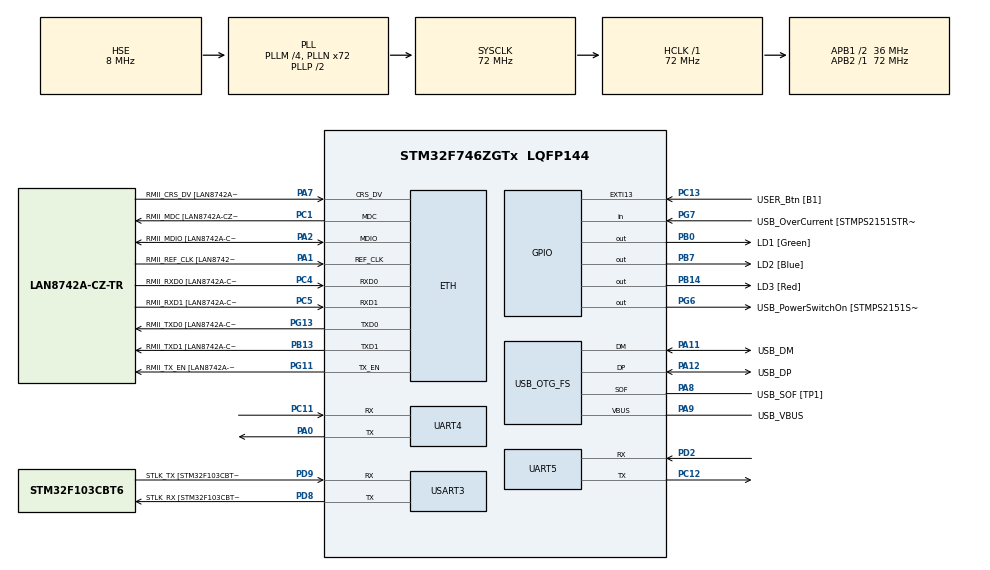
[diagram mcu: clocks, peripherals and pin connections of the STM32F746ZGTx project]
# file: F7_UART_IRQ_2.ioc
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ETH.MediaInterface=ETH_MEDIA_INTERFACE_RMII
ETH.PHY_Name=LAN8742A_PHY_ADDRESS
ETH.PHY_Value=0
ETH.PhyAddress=0
Mcu.Family=STM32F7
Mcu.Name=STM32F746ZGTx
Mcu.Package=LQFP144
NVIC.PriorityGroup=NVIC_PRIORITYGROUP_4
NVIC.UART4_IRQn=true\:0\:0\:false\:false\:true\:true\:true
NVIC.UART5_IRQn=true\:0\:0\:false\:false\:true\:true\:true
NVIC.USART3_IRQn=true\:0\:0\:false\:false\:true\:true\:true
PA0/WKUP.Mode=Asynchronous
PA0/WKUP.Signal=UART4_TX
PA1.GPIO_Label=RMII_REF_CLK [LAN8742A-CZ-TR_REFCLK0]
PA1.Mode=RMII
PA1.Signal=ETH_REF_CLK
PA10.GPIO_Label=USB_ID
PA10.Signal=USB_OTG_FS_ID
PA11.GPIO_Label=USB_DM
PA11.Mode=Device_Only
PA11.Signal=USB_OTG_FS_DM
PA12.GPIO_Label=USB_DP
PA12.Mode=Device_Only
PA12.Signal=USB_OTG_FS_DP
PA13.GPIO_Label=TMS
PA13.Mode=Serial_Wire
PA13.Signal=SYS_JTMS-SWDIO
PA14.GPIO_Label=TCK
PA14.Mode=Serial_Wire
PA14.Signal=SYS_JTCK-SWCLK
PA2.GPIO_Label=RMII_MDIO [LAN8742A-CZ-TR_MDIO]
PA2.Mode=RMII
PA2.Signal=ETH_MDIO
PA7.GPIO_Label=RMII_CRS_DV [LAN8742A-CZ-TR_CRS_DV]
PA7.Mode=RMII
PA7.Signal=ETH_CRS_DV
PA8.GPIO_Label=USB_SOF [TP1]
PA8.Mode=Activate_SOF_FS
PA8.Signal=USB_OTG_FS_SOF
PA9.GPIO_Label=USB_VBUS
PA9.Mode=Activate_VBUS
PA9.Signal=USB_OTG_FS_VBUS
PB0.GPIO_Label=LD1 [Green]
PB0.Signal=GPIO_Output
PB13.GPIO_Label=RMII_TXD1 [LAN8742A-CZ-TR_TXD1]
PB13.Mode=RMII
PB13.Signal=ETH_TXD1
PB14.GPIO_Label=LD3 [Red]
PB14.Signal=GPIO_Output
PB3.GPIO_Label=SW0
PB3.Signal=SYS_JTDO-SWO
PB7.GPIO_Label=LD2 [Blue]
PB7.Signal=GPIO_Output
PC1.GPIO_Label=RMII_MDC [LAN8742A-CZ-TR_MDC]
PC1.Mode=RMII
PC1.Signal=ETH_MDC
PC11.Mode=Asynchronous
PC11.Signal=UART4_RX
PC12.Mode=Asynchronous
PC12.Signal=UART5_TX
PC13.GPIO_Label=USER_Btn [B1]
PC13.Signal=GPXTI13
PC14/OSC32_IN.Mode=LSE-External-Oscillator
PC14/OSC32_IN.Signal=RCC_OSC32_IN
PC15/OSC32_OUT.Mode=LSE-External-Oscillator
PC15/OSC32_OUT.Signal=RCC_OSC32_OUT
PC4.GPIO_Label=RMII_RXD0 [LAN8742A-CZ-TR_RXD0]
PC4.Mode=RMII
PC4.Signal=ETH_RXD0
PC5.GPIO_Label=RMII_RXD1 [LAN8742A-CZ-TR_RXD1]
PC5.Mode=RMII
PC5.Signal=ETH_RXD1
PD2.Mode=Asynchronous
PD2.Signal=UART5_RX
PD8.GPIO_Label=STLK_RX [STM32F103CBT6_PA3]
PD8.Mode=Asynchronous
PD8.Signal=USART3_TX
PD9.GPIO_Label=STLK_TX [STM32F103CBT6_PA2]
PD9.Mode=Asynchronous
PD9.Signal=USART3_RX
PG11.GPIO_Label=RMII_TX_EN [LAN8742A-CZ-TR_TXEN]
PG11.Mode=RMII
PG11.Signal=ETH_TX_EN
PG13.GPIO_Label=RMII_TXD0 [LAN8742A-CZ-TR_TXD0]
PG13.Mode=RMII
PG13.Signal=ETH_TXD0
PG6.GPIO_Label=USB_PowerSwitchOn [STMPS2151STR_EN]
PG6.Signal=GPIO_Output
PG7.GPIO_Label=USB_OverCurrent [STMPS2151STR_FAULT]
PG7.Signal=GPIO_Input
PH0/OSC_IN.GPIO_Label=MCO [STM32F103CBT6_PA8]
PH0/OSC_IN.Mode=HSE-External-Clock-Source
PH0/OSC_IN.Signal=RCC_OSC_IN
PH1/OSC_OUT.Mode=HSE-External-Clock-Source
PH1/OSC_OUT.Signal=RCC_OSC_OUT
ProjectManager.HeapSize=0x200
ProjectManager.StackSize=0x400
ProjectManager.TargetToolchain=STM32CubeIDE
RCC.48MHZClocksFreq_Value=24000000
RCC.AHBFreq_Value=72000000
RCC.APB1CLKDivider=RCC_HCLK_DIV2
RCC.APB1Freq_Value=36000000
RCC.APB1TimFreq_Value=72000000
RCC.APB2Freq_Value=72000000
RCC.APB2TimFreq_Value=72000000
RCC.CortexFreq_Value=72000000
RCC.HCLKFreq_Value=72000000
RCC.HSE_VALUE=8000000
RCC.HSI_VALUE=16000000
RCC.PLLM=4
RCC.PLLMUL=RCC_PLL_MUL9
RCC.PLLN=72
RCC.PLLQ=3
RCC.PRESCALERUSB=RCC_USBCLKSOURCE_PLL_DIV1_5
RCC.SYSCLKFreq_VALUE=72000000
RCC.SYSCLKSource=RCC_SYSCLKSOURCE_PLLCLK
RCC.SYSCLKSourceVirtual=RCC_SYSCLKSOURCE_PLLCLK
RCC.USBFreq_Value=48000000
RCC.VCOOutputFreq_Value=144000000
USART3.VirtualMode-Asynchronous=VM_ASYNC
USB_OTG_FS.VirtualMode=Device_Only
board=NUCLEO-F746ZG

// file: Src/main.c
/* USER CODE BEGIN Header */
/**
  ******************************************************************************
  * @file           : main.c
  * @brief          : Main program body
  ******************************************************************************
  * @attention
  *
  * <h2><center>&copy; Copyright (c) 2020 STMicroelectronics.
  * All rights reserved.</center></h2>
  *
  * This software component is licensed by ST under BSD 3-Clause license,
  * the "License"; You may not use this file except in compliance with the
  * License. You may obtain a copy of the License at:
  *                        opensource.org/licenses/BSD-3-Clause
  *
  ******************************************************************************
  */
/* USER CODE END Header */

#include "main.h"

ETH_HandleTypeDef heth;

UART_HandleTypeDef huart4;
UART_HandleTypeDef huart5;
UART_HandleTypeDef huart3;

PCD_HandleTypeDef hpcd_USB_OTG_FS;

/* USER CODE BEGIN PV */
uint8_t uart3_flag_calback=0;
uint8_t uart4_flag_calback=0;
uint8_t uart5_flag_calback=0;
uint8_t uart3_flag_h=0;

uint8_t uart3_r_buff[100];
uint8_t uart4_r_buff[100];
uint8_t uart5_r_buff[100];

/* USER CODE END PV */

void SystemClock_Config(void);
static void MX_GPIO_Init(void);
static void MX_ETH_Init(void);
static void MX_UART4_Init(void);
static void MX_USART3_UART_Init(void);
static void MX_USB_OTG_FS_PCD_Init(void);
static void MX_UART5_Init(void);

/* USER CODE BEGIN 0 */
//===========================================================================
/*
 * function for printf
 */
int __io_putchar(int ch)
{
	HAL_UART_Transmit(&huart3, (uint8_t *)&ch, 1, 0xFFFF);
	return ch;
}
//===========================================================================

/* USER CODE END 0 */

int main(void)
{

  /* MCU Configuration--------------------------------------------------------*/

  /* Reset of all peripherals, Initializes the Flash interface and the Systick. */
  HAL_Init();

  /* Configure the system clock */
  SystemClock_Config();

  /* Initialize all configured peripherals */
  MX_GPIO_Init();
  MX_ETH_Init();
  MX_UART4_Init();
  MX_USART3_UART_Init();
  MX_USB_OTG_FS_PCD_Init();
  MX_UART5_Init();
  /* USER CODE BEGIN 2 */
  HAL_UART_Receive_IT(&huart3, uart3_r_buff, 10);
  HAL_UART_Receive_IT(&huart5, uart5_r_buff, 10);
  HAL_UART_Receive_IT(&huart4, uart4_r_buff, 10);
  /* USER CODE END 2 */

  /* Infinite loop */
  /* USER CODE BEGIN WHILE */
	 printf("\n\rInput any text \n\r");
  while (1)
  {
	  if(uart3_flag_calback)
	  {
		  printf("callback flag uart3 up [%s]\n\r",uart3_r_buff);
		  uart3_flag_calback = 0;
//		  HAL_UART_Transmit(&huart4, uart3_r_buff, 10,0xffff);
		  HAL_UART_Transmit(&huart5, uart3_r_buff, 10,0xffff);
		  memset(uart3_r_buff,0,sizeof(uart3_r_buff));
	  }
	  if(uart4_flag_calback)
	  {
		  printf("callback flag uart4 up [%s]\n\r",uart4_r_buff);
		  uart4_flag_calback = 0;
	  }
	  if(uart5_flag_calback)
	  {
		  printf("callback flag uart5 up [%s]\n\r",uart5_r_buff);
		  uart5_flag_calback = 0;
	  }
	  if(uart3_flag_h)
	  {
//		  printf("USART3_IRQHandler flag UP\n\r");
		  printf("huart3.RxXferCount [%d]\n\r",
				  huart3.RxXferCount);
		  printf("huart3.RxXferSize [%d]\n\r",
				  huart3.RxXferSize);
		  printf("[%s]\n\r",uart3_r_buff);
		  uart3_flag_h = 0;
	  }
    /* USER CODE END WHILE */

    /* USER CODE BEGIN 3 */

  }
}

/*
(+) TxHalfCpltCallback        : Tx Half Complete Callback.
(+) TxCpltCallback            : Tx Complete Callback.
(+) RxHalfCpltCallback        : Rx Half Complete Callback.
(+) RxCpltCallback            : Rx Complete Callback.
(+) ErrorCallback             : Error Callback.
(+) AbortCpltCallback         : Abort Complete Callback.
(+) AbortTransmitCpltCallback : Abort Transmit Complete Callback.
(+) AbortReceiveCpltCallback  : Abort Receive Complete Callback.
(+) WakeupCallback            : Wakeup Callback.
(+) RxFifoFullCallback        : Rx Fifo Full Callback.
(+) TxFifoEmptyCallback       : Tx Fifo Empty Callback.
(+) MspInitCallback           : UART MspInit.
(+) MspDeInitCallback         : UART MspDeInit.
*/

void HAL_UART_RxCpltCallback(UART_HandleTypeDef *huart)
{
	if(huart->Instance==UART4)
	{
		uart4_flag_calback = 1;
		HAL_UART_Receive_IT(&huart4, uart4_r_buff, 10);
	}
	if(huart->Instance==UART5)
	{
		uart5_flag_calback = 1;
		HAL_UART_Receive_IT(&huart5, uart5_r_buff, 10);
	}
	if(huart->Instance==USART3)
	{
		uart3_flag_calback = 1;
		HAL_UART_Receive_IT(&huart3, uart3_r_buff, 10);
	}
}

/**
  * @brief This function handles USART3 global interrupt.
  */
void USART3_IRQHandler(void)
{
  /* USER CODE BEGIN USART3_IRQn 0 */

  /* USER CODE END USART3_IRQn 0 */
  HAL_UART_IRQHandler(&huart3);
  /* USER CODE BEGIN USART3_IRQn 1 */
	uart3_flag_h = 1;
  /* USER CODE END USART3_IRQn 1 */
}

  /* USER CODE END 3 */

void SystemClock_Config(void)
{
  RCC_OscInitTypeDef RCC_OscInitStruct = {0};
  RCC_ClkInitTypeDef RCC_ClkInitStruct = {0};
  RCC_PeriphCLKInitTypeDef PeriphClkInitStruct = {0};

  /** Configure LSE Drive Capability
  */
  HAL_PWR_EnableBkUpAccess();
  /** Configure the main internal regulator output voltage
  */
  __HAL_RCC_PWR_CLK_ENABLE();
  __HAL_PWR_VOLTAGESCALING_CONFIG(PWR_REGULATOR_VOLTAGE_SCALE3);
  /** Initializes the CPU, AHB and APB busses clocks
  */
  RCC_OscInitStruct.OscillatorType = RCC_OSCILLATORTYPE_HSE;
  RCC_OscInitStruct.HSEState = RCC_HSE_BYPASS;
  RCC_OscInitStruct.PLL.PLLState = RCC_PLL_ON;
  RCC_OscInitStruct.PLL.PLLSource = RCC_PLLSOURCE_HSE;
  RCC_OscInitStruct.PLL.PLLM = 4;
  RCC_OscInitStruct.PLL.PLLN = 72;
  RCC_OscInitStruct.PLL.PLLP = RCC_PLLP_DIV2;
  RCC_OscInitStruct.PLL.PLLQ = 3;
  if (HAL_RCC_OscConfig(&RCC_OscInitStruct) != HAL_OK)
  {
    Error_Handler();
  }
  /** Initializes the CPU, AHB and APB busses clocks
  */
  RCC_ClkInitStruct.ClockType = RCC_CLOCKTYPE_HCLK|RCC_CLOCKTYPE_SYSCLK
                              |RCC_CLOCKTYPE_PCLK1|RCC_CLOCKTYPE_PCLK2;
  RCC_ClkInitStruct.SYSCLKSource = RCC_SYSCLKSOURCE_PLLCLK;
  RCC_ClkInitStruct.AHBCLKDivider = RCC_SYSCLK_DIV1;
  RCC_ClkInitStruct.APB1CLKDivider = RCC_HCLK_DIV2;
  RCC_ClkInitStruct.APB2CLKDivider = RCC_HCLK_DIV1;

  if (HAL_RCC_ClockConfig(&RCC_ClkInitStruct, FLASH_LATENCY_2) != HAL_OK)
  {
    Error_Handler();
  }
  PeriphClkInitStruct.PeriphClockSelection = RCC_PERIPHCLK_USART3|RCC_PERIPHCLK_UART4
                              |RCC_PERIPHCLK_UART5|RCC_PERIPHCLK_CLK48;
  PeriphClkInitStruct.Usart3ClockSelection = RCC_USART3CLKSOURCE_PCLK1;
  PeriphClkInitStruct.Uart4ClockSelection = RCC_UART4CLKSOURCE_PCLK1;
  PeriphClkInitStruct.Uart5ClockSelection = RCC_UART5CLKSOURCE_PCLK1;
  PeriphClkInitStruct.Clk48ClockSelection = RCC_CLK48SOURCE_PLL;
  if (HAL_RCCEx_PeriphCLKConfig(&PeriphClkInitStruct) != HAL_OK)
  {
    Error_Handler();
  }
}

static void MX_ETH_Init(void)
{

   uint8_t MACAddr[6] ;

  heth.Instance = ETH;
  heth.Init.AutoNegotiation = ETH_AUTONEGOTIATION_ENABLE;
  heth.Init.PhyAddress = LAN8742A_PHY_ADDRESS;
  MACAddr[0] = 0x00;
  MACAddr[1] = 0x80;
  MACAddr[2] = 0xE1;
  MACAddr[3] = 0x00;
  MACAddr[4] = 0x00;
  MACAddr[5] = 0x00;
  heth.Init.MACAddr = &MACAddr[0];
  heth.Init.RxMode = ETH_RXPOLLING_MODE;
  heth.Init.ChecksumMode = ETH_CHECKSUM_BY_HARDWARE;
  heth.Init.MediaInterface = ETH_MEDIA_INTERFACE_RMII;

  if (HAL_ETH_Init(&heth) != HAL_OK)
  {
    Error_Handler();
  }

}

static void MX_UART4_Init(void)
{

  huart4.Instance = UART4;
  huart4.Init.BaudRate = 115200;
  huart4.Init.WordLength = UART_WORDLENGTH_8B;
  huart4.Init.StopBits = UART_STOPBITS_1;
  huart4.Init.Parity = UART_PARITY_NONE;
  huart4.Init.Mode = UART_MODE_TX_RX;
  huart4.Init.HwFlowCtl = UART_HWCONTROL_NONE;
  huart4.Init.OverSampling = UART_OVERSAMPLING_16;
  huart4.Init.OneBitSampling = UART_ONE_BIT_SAMPLE_DISABLE;
  huart4.AdvancedInit.AdvFeatureInit = UART_ADVFEATURE_NO_INIT;
  if (HAL_UART_Init(&huart4) != HAL_OK)
  {
    Error_Handler();
  }

}

static void MX_UART5_Init(void)
{

  huart5.Instance = UART5;
  huart5.Init.BaudRate = 115200;
  huart5.Init.WordLength = UART_WORDLENGTH_8B;
  huart5.Init.StopBits = UART_STOPBITS_1;
  huart5.Init.Parity = UART_PARITY_NONE;
  huart5.Init.Mode = UART_MODE_TX_RX;
  huart5.Init.HwFlowCtl = UART_HWCONTROL_NONE;
  huart5.Init.OverSampling = UART_OVERSAMPLING_16;
  huart5.Init.OneBitSampling = UART_ONE_BIT_SAMPLE_DISABLE;
  huart5.AdvancedInit.AdvFeatureInit = UART_ADVFEATURE_NO_INIT;
  if (HAL_UART_Init(&huart5) != HAL_OK)
  {
    Error_Handler();
  }

}

static void MX_USART3_UART_Init(void)
{

  huart3.Instance = USART3;
  huart3.Init.BaudRate = 115200;
  huart3.Init.WordLength = UART_WORDLENGTH_8B;
  huart3.Init.StopBits = UART_STOPBITS_1;
  huart3.Init.Parity = UART_PARITY_NONE;
  huart3.Init.Mode = UART_MODE_TX_RX;
  huart3.Init.HwFlowCtl = UART_HWCONTROL_NONE;
  huart3.Init.OverSampling = UART_OVERSAMPLING_16;
  huart3.Init.OneBitSampling = UART_ONE_BIT_SAMPLE_DISABLE;
  huart3.AdvancedInit.AdvFeatureInit = UART_ADVFEATURE_NO_INIT;
  if (HAL_UART_Init(&huart3) != HAL_OK)
  {
    Error_Handler();
  }

}

static void MX_USB_OTG_FS_PCD_Init(void)
{

  hpcd_USB_OTG_FS.Instance = USB_OTG_FS;
  hpcd_USB_OTG_FS.Init.dev_endpoints = 6;
  hpcd_USB_OTG_FS.Init.speed = PCD_SPEED_FULL;
  hpcd_USB_OTG_FS.Init.dma_enable = DISABLE;
  hpcd_USB_OTG_FS.Init.phy_itface = PCD_PHY_EMBEDDED;
  hpcd_USB_OTG_FS.Init.Sof_enable = ENABLE;
  hpcd_USB_OTG_FS.Init.low_power_enable = DISABLE;
  hpcd_USB_OTG_FS.Init.lpm_enable = DISABLE;
  hpcd_USB_OTG_FS.Init.vbus_sensing_enable = ENABLE;
  hpcd_USB_OTG_FS.Init.use_dedicated_ep1 = DISABLE;
  if (HAL_PCD_Init(&hpcd_USB_OTG_FS) != HAL_OK)
  {
    Error_Handler();
  }

}

static void MX_GPIO_Init(void)
{
  GPIO_InitTypeDef GPIO_InitStruct = {0};

  /* GPIO Ports Clock Enable */
  __HAL_RCC_GPIOC_CLK_ENABLE();
  __HAL_RCC_GPIOH_CLK_ENABLE();
  __HAL_RCC_GPIOA_CLK_ENABLE();
  __HAL_RCC_GPIOB_CLK_ENABLE();
  __HAL_RCC_GPIOD_CLK_ENABLE();
  __HAL_RCC_GPIOG_CLK_ENABLE();

  /*Configure GPIO pin Output Level */
  HAL_GPIO_WritePin(GPIOB, LD1_Pin|LD3_Pin|LD2_Pin, GPIO_PIN_RESET);

  /*Configure GPIO pin Output Level */
  HAL_GPIO_WritePin(USB_PowerSwitchOn_GPIO_Port, USB_PowerSwitchOn_Pin, GPIO_PIN_RESET);

  /*Configure GPIO pin : USER_Btn_Pin */
  GPIO_InitStruct.Pin = USER_Btn_Pin;
  GPIO_InitStruct.Mode = GPIO_MODE_IT_RISING;
  GPIO_InitStruct.Pull = GPIO_NOPULL;
  HAL_GPIO_Init(USER_Btn_GPIO_Port, &GPIO_InitStruct);

  /*Configure GPIO pins : LD1_Pin LD3_Pin LD2_Pin */
  GPIO_InitStruct.Pin = LD1_Pin|LD3_Pin|LD2_Pin;
  GPIO_InitStruct.Mode = GPIO_MODE_OUTPUT_PP;
  GPIO_InitStruct.Pull = GPIO_NOPULL;
  GPIO_InitStruct.Speed = GPIO_SPEED_FREQ_LOW;
  HAL_GPIO_Init(GPIOB, &GPIO_InitStruct);

  /*Configure GPIO pin : USB_PowerSwitchOn_Pin */
  GPIO_InitStruct.Pin = USB_PowerSwitchOn_Pin;
  GPIO_InitStruct.Mode = GPIO_MODE_OUTPUT_PP;
  GPIO_InitStruct.Pull = GPIO_NOPULL;
  GPIO_InitStruct.Speed = GPIO_SPEED_FREQ_LOW;
  HAL_GPIO_Init(USB_PowerSwitchOn_GPIO_Port, &GPIO_InitStruct);

  /*Configure GPIO pin : USB_OverCurrent_Pin */
  GPIO_InitStruct.Pin = USB_OverCurrent_Pin;
  GPIO_InitStruct.Mode = GPIO_MODE_INPUT;
  GPIO_InitStruct.Pull = GPIO_NOPULL;
  HAL_GPIO_Init(USB_OverCurrent_GPIO_Port, &GPIO_InitStruct);

}

void Error_Handler(void)
{
}

/************************ (C) COPYRIGHT STMicroelectronics *****END OF FILE****/
